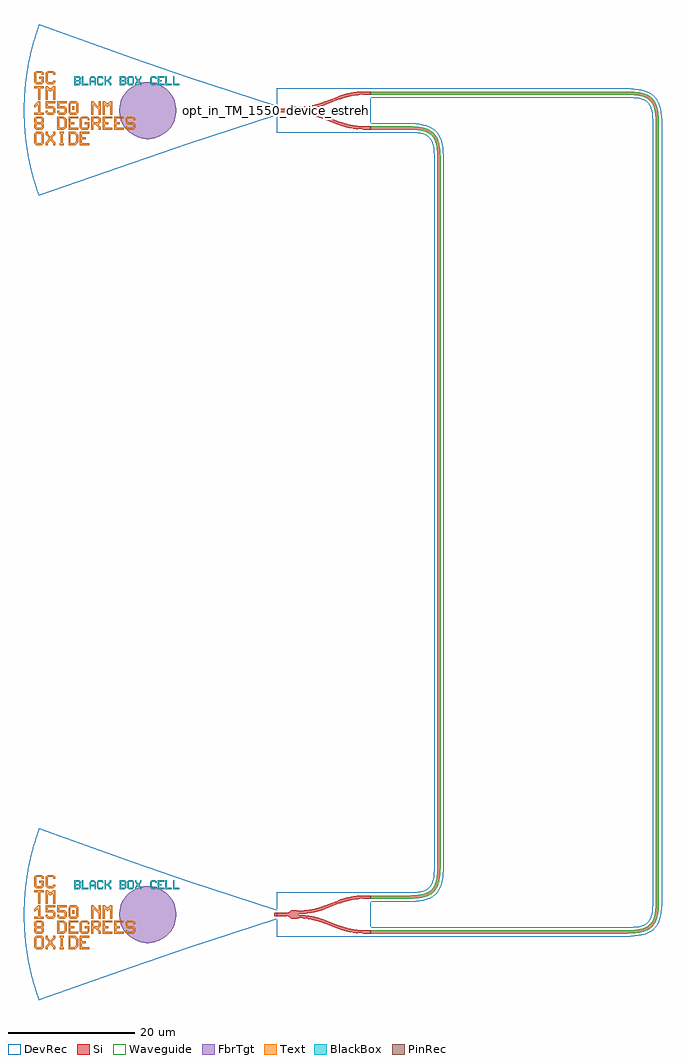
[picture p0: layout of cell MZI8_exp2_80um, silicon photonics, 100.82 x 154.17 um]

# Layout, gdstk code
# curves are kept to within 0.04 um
import gdstk
lib = gdstk.Library(unit=1e-6, precision=1e-09)
def R(c, l, rs):  # rectangles x0, y0, x1, y1
    for r in rs: c.add(gdstk.rectangle(r[:2], r[2:], *l))
def P(c, l, *ps):  # polygons
    for p in ps: c.add(gdstk.Polygon(p, *l))
Si = (1, 0)
PinRec = (1, 10)
Waveguide = (1, 99)
Text = (10, 0)
DevRec = (68, 0)
FbrTgt = (81, 0)
BlackBox = (998, 0)

text = lib.new_cell('TEXT')
P(text, BlackBox, [(13.2,0),(13.2,1.4),(14.2,1.4),(14.2,1.2),(13.4,1.2),(13.4,0.8),(13.8,0.8),(13.8,0.6),(13.4,0.6),(13.4,0.2),(14.2,0.2),(14.2,0)],
  [(9.6,0),(9.6,0.3),(9.9,0.6),(9.9,0.8),(9.6,1.1),(9.6,1.4),(9.8,1.4),(9.8,1.2),(10.1,0.9),(10.4,1.2),(10.4,1.4),(10.6,1.4),(10.6,1.1),(10.3,0.8),(10.3,0.6),(10.6,0.3),(10.6,0),(10.4,0),(10.4,0.2),(10.1,0.5),(9.8,0.2),(9.8,0)],
  [(8.6,0),(8.4,0.2),(8.4,1.2),(8.6,1.4),(9.2,1.4),(9.4,1.2),(9.4,0.7),(9.2,0.7),(9.2,1.1),(9.1,1.2),(8.7,1.2),(8.6,1.1),(8.6,0.3),(8.7,0.2),(9.1,0.2),(9.2,0.3),(9.2,0.7),(9.4,0.7),(9.4,0.2),(9.2,0)],
  [(4.8,0),(4.8,1.4),(5,1.4),(5,0.8),(5.2,0.8),(5.6,1.2),(5.6,1.4),(5.8,1.4),(5.8,1.1),(5.4,0.7),(5.8,0.3),(5.8,0),(5.6,0),(5.6,0.2),(5.2,0.6),(5,0.6),(5,0)],
  [(3.8,0),(3.6,0.2),(3.6,1.2),(3.8,1.4),(4.4,1.4),(4.6,1.2),(4.6,1),(4.4,1),(4.4,1.1),(4.3,1.2),(3.9,1.2),(3.8,1.1),(3.8,0.3),(3.9,0.2),(4.3,0.2),(4.4,0.3),(4.4,0.4),(4.6,0.4),(4.6,0.2),(4.4,0)],
  [(12.2,0),(12,0.2),(12,1.2),(12.2,1.4),(12.8,1.4),(13,1.2),(13,1),(12.8,1),(12.8,1.1),(12.7,1.2),(12.3,1.2),(12.2,1.1),(12.2,0.3),(12.3,0.2),(12.7,0.2),(12.8,0.3),(12.8,0.4),(13,0.4),(13,0.2),(12.8,0)],
  [(2.4,0),(2.4,1.1),(2.7,1.4),(3.1,1.4),(3.3,1.2),(2.8,1.2),(2.6,1),(2.6,0.7),(3.2,0.7),(3.2,1),(3,1.2),(3.3,1.2),(3.4,1.1),(3.4,0),(3.2,0),(3.2,0.5),(2.6,0.5),(2.6,0)],
  [(1.2,0),(1.2,1.4),(1.4,1.4),(1.4,0.2),(2.2,0.2),(2.2,0)],
  [(14.4,0),(14.4,1.4),(14.6,1.4),(14.6,0.2),(15.4,0.2),(15.4,0)],
  [(15.6,0),(15.6,1.4),(15.8,1.4),(15.8,0.2),(16.6,0.2),(16.6,0)],
  [(0,0),(0,1.4),(0.8,1.4),(1,1.2),(0.2,1.2),(0.2,0.8),(0.7,0.8),(0.8,0.9),(0.8,1.1),(0.7,1.2),(1,1.2),(1,0.8),(0.9,0.7),(1,0.6),(0.2,0.6),(0.2,0.2),(0.7,0.2),(0.8,0.3),(0.8,0.5),(0.7,0.6),(1,0.6),(1,0.2),(0.8,0)],
  [(7.2,0),(7.2,1.4),(8,1.4),(8.2,1.2),(7.4,1.2),(7.4,0.8),(7.9,0.8),(8,0.9),(8,1.1),(7.9,1.2),(8.2,1.2),(8.2,0.8),(8.1,0.7),(8.2,0.6),(7.4,0.6),(7.4,0.2),(7.9,0.2),(8,0.3),(8,0.5),(7.9,0.6),(8.2,0.6),(8.2,0.2),(8,0)])

gc_tm_1550_8degoxide_bb = lib.new_cell('GC_TM_1550_8degOxide_BB')
R(gc_tm_1550_8degoxide_bb, Si, [(-0.4,-0.25,0,0.25)])
R(gc_tm_1550_8degoxide_bb, Text, [(-32.313,0.092,-32.013,0.692)])
P(gc_tm_1550_8degoxide_bb, Text, [(-30.813,-3.058),(-31.113,-2.758),(-31.113,-1.258),(-30.813,-0.958),(-29.913,-0.958),(-29.613,-1.258),(-29.613,-1.558),(-29.913,-1.558),(-29.913,-1.408),(-30.063,-1.258),(-30.663,-1.258),(-30.813,-1.408),(-30.813,-2.608),(-30.663,-2.758),(-30.063,-2.758),(-29.913,-2.608),(-29.913,-2.158),(-30.363,-2.158),(-30.363,-1.858),(-29.613,-1.858),(-29.613,-2.758),(-29.913,-3.058)],
  [(-38.013,4.142),(-38.313,4.442),(-38.313,5.942),(-38.013,6.242),(-37.113,6.242),(-36.813,5.942),(-36.813,5.642),(-37.113,5.642),(-37.113,5.792),(-37.263,5.942),(-37.863,5.942),(-38.013,5.792),(-38.013,4.592),(-37.863,4.442),(-37.263,4.442),(-37.113,4.592),(-37.113,5.042),(-37.563,5.042),(-37.563,5.342),(-36.813,5.342),(-36.813,4.442),(-37.113,4.142)],
  [(-36.513,-5.458),(-36.513,-5.008),(-36.063,-4.558),(-36.063,-4.258),(-36.513,-3.808),(-36.513,-3.358),(-36.213,-3.358),(-36.213,-3.658),(-35.763,-4.108),(-35.313,-3.658),(-35.313,-3.358),(-35.013,-3.358),(-35.013,-3.808),(-35.463,-4.258),(-35.463,-4.558),(-35.013,-5.008),(-35.013,-5.458),(-35.313,-5.458),(-35.313,-5.158),(-35.763,-4.708),(-36.213,-5.158),(-36.213,-5.458)],
  [(-37.713,1.742),(-37.713,3.542),(-38.313,3.542),(-38.313,3.842),(-36.813,3.842),(-36.813,3.542),(-37.413,3.542),(-37.413,1.742)],
  [(-38.013,-5.458),(-38.313,-5.158),(-38.313,-3.658),(-38.013,-3.358),(-37.113,-3.358),(-36.813,-3.658),(-36.813,-4.408),(-37.113,-4.408),(-37.113,-3.808),(-37.263,-3.658),(-37.863,-3.658),(-38.013,-3.808),(-38.013,-5.008),(-37.863,-5.158),(-37.263,-5.158),(-37.113,-5.008),(-37.113,-4.408),(-36.813,-4.408),(-36.813,-5.158),(-37.113,-5.458)],
  [(-31.113,-5.458),(-31.113,-3.358),(-29.613,-3.358),(-29.613,-3.658),(-30.813,-3.658),(-30.813,-4.258),(-30.213,-4.258),(-30.213,-4.558),(-30.813,-4.558),(-30.813,-5.158),(-29.613,-5.158),(-29.613,-5.458)],
  [(-32.913,-3.058),(-32.913,-0.958),(-31.413,-0.958),(-31.413,-1.258),(-32.613,-1.258),(-32.613,-1.858),(-32.013,-1.858),(-32.013,-2.158),(-32.613,-2.158),(-32.613,-2.758),(-31.413,-2.758),(-31.413,-3.058)],
  [(-27.513,-3.058),(-27.513,-0.958),(-26.013,-0.958),(-26.013,-1.258),(-27.213,-1.258),(-27.213,-1.858),(-26.613,-1.858),(-26.613,-2.158),(-27.213,-2.158),(-27.213,-2.758),(-26.013,-2.758),(-26.013,-3.058)],
  [(-25.713,-3.058),(-25.713,-0.958),(-24.213,-0.958),(-24.213,-1.258),(-25.413,-1.258),(-25.413,-1.858),(-24.813,-1.858),(-24.813,-2.158),(-25.413,-2.158),(-25.413,-2.758),(-24.213,-2.758),(-24.213,-3.058)],
  [(-29.313,-0.658),(-29.313,1.442),(-29.013,1.442),(-28.263,0.692),(-28.113,0.692),(-28.113,1.442),(-27.813,1.442),(-27.813,-0.658),(-28.113,-0.658),(-28.113,0.092),(-28.863,0.842),(-29.013,0.842),(-29.013,-0.658)],
  [(-34.263,-5.458),(-34.263,-5.158),(-34.113,-5.158),(-34.113,-3.658),(-34.263,-3.658),(-34.263,-3.358),(-33.663,-3.358),(-33.663,-3.658),(-33.813,-3.658),(-33.813,-5.158),(-33.663,-5.158),(-33.663,-5.458)],
  [(-36.213,4.142),(-36.513,4.442),(-36.513,5.942),(-36.213,6.242),(-35.313,6.242),(-35.013,5.942),(-35.013,5.642),(-35.313,5.642),(-35.313,5.792),(-35.463,5.942),(-36.063,5.942),(-36.213,5.792),(-36.213,4.592),(-36.063,4.442),(-35.463,4.442),(-35.313,4.592),(-35.313,4.742),(-35.013,4.742),(-35.013,4.442),(-35.313,4.142)],
  [(-27.513,-0.658),(-27.513,1.442),(-27.213,1.442),(-26.913,1.142),(-26.613,1.142),(-26.313,1.442),(-26.013,1.442),(-26.013,-0.658),(-26.313,-0.658),(-26.313,0.842),(-26.463,0.842),(-26.763,0.542),(-27.063,0.842),(-27.213,0.842),(-27.213,-0.658)],
  [(-36.513,1.742),(-36.513,3.842),(-36.213,3.842),(-35.913,3.542),(-35.613,3.542),(-35.313,3.842),(-35.013,3.842),(-35.013,1.742),(-35.313,1.742),(-35.313,3.242),(-35.463,3.242),(-35.763,2.942),(-36.063,3.242),(-36.213,3.242),(-36.213,1.742)],
  [(-29.313,-3.058),(-29.313,-0.958),(-28.113,-0.958),(-27.813,-1.258),(-29.013,-1.258),(-29.013,-1.858),(-28.263,-1.858),(-28.113,-1.708),(-28.113,-1.408),(-28.263,-1.258),(-27.813,-1.258),(-27.813,-1.858),(-28.113,-2.158),(-28.113,-2.308),(-27.813,-2.608),(-27.813,-3.058),(-28.113,-3.058),(-28.113,-2.758),(-28.713,-2.158),(-29.013,-2.158),(-29.013,-3.058)],
  [(-32.613,-0.658),(-32.913,-0.358),(-32.913,1.142),(-32.613,1.442),(-31.713,1.442),(-31.413,1.142),(-32.463,1.142),(-32.613,0.992),(-32.613,-0.208),(-32.463,-0.358),(-31.863,-0.358),(-31.713,-0.208),(-31.713,0.992),(-31.863,1.142),(-31.413,1.142),(-31.413,-0.358),(-31.713,-0.658)],
  [(-38.013,-3.058),(-38.313,-2.758),(-38.313,-2.158),(-38.163,-2.008),(-38.313,-1.858),(-38.313,-1.258),(-38.013,-0.958),(-37.113,-0.958),(-36.813,-1.258),(-37.863,-1.258),(-38.013,-1.408),(-38.013,-1.708),(-37.863,-1.858),(-37.263,-1.858),(-37.113,-1.708),(-37.113,-1.408),(-37.263,-1.258),(-36.813,-1.258),(-36.813,-1.858),(-36.963,-2.008),(-36.813,-2.158),(-37.863,-2.158),(-38.013,-2.308),(-38.013,-2.608),(-37.863,-2.758),(-37.263,-2.758),(-37.113,-2.608),(-37.113,-2.308),(-37.263,-2.158),(-36.813,-2.158),(-36.813,-2.758),(-37.113,-3.058)],
  [(-32.913,-5.458),(-32.913,-3.358),(-31.863,-3.358),(-31.563,-3.658),(-32.613,-3.658),(-32.613,-5.158),(-32.013,-5.158),(-31.713,-4.858),(-31.713,-3.958),(-32.013,-3.658),(-31.563,-3.658),(-31.413,-3.808),(-31.413,-5.008),(-31.863,-5.458)],
  [(-34.713,-3.058),(-34.713,-0.958),(-33.663,-0.958),(-33.363,-1.258),(-34.413,-1.258),(-34.413,-2.758),(-33.813,-2.758),(-33.513,-2.458),(-33.513,-1.558),(-33.813,-1.258),(-33.363,-1.258),(-33.213,-1.408),(-33.213,-2.608),(-33.663,-3.058)],
  [(-36.213,-0.658),(-36.513,-0.358),(-36.513,-0.058),(-36.213,-0.058),(-36.213,-0.208),(-36.063,-0.358),(-35.463,-0.358),(-35.313,-0.208),(-35.313,0.242),(-35.463,0.392),(-36.513,0.392),(-36.513,1.442),(-35.013,1.442),(-35.013,1.142),(-36.213,1.142),(-36.213,0.692),(-35.313,0.692),(-35.013,0.392),(-35.013,-0.358),(-35.313,-0.658)],
  [(-34.413,-0.658),(-34.713,-0.358),(-34.713,-0.058),(-34.413,-0.058),(-34.413,-0.208),(-34.263,-0.358),(-33.663,-0.358),(-33.513,-0.208),(-33.513,0.242),(-33.663,0.392),(-34.713,0.392),(-34.713,1.442),(-33.213,1.442),(-33.213,1.142),(-34.413,1.142),(-34.413,0.692),(-33.513,0.692),(-33.213,0.392),(-33.213,-0.358),(-33.513,-0.658)],
  [(-23.613,-3.058),(-23.913,-2.758),(-23.913,-2.458),(-23.613,-2.458),(-23.613,-2.608),(-23.463,-2.758),(-22.863,-2.758),(-22.713,-2.608),(-22.713,-2.308),(-22.863,-2.158),(-23.613,-2.158),(-23.913,-1.858),(-23.913,-1.258),(-23.613,-0.958),(-22.713,-0.958),(-22.413,-1.258),(-22.413,-1.558),(-22.713,-1.558),(-22.713,-1.408),(-22.863,-1.258),(-23.463,-1.258),(-23.613,-1.408),(-23.613,-1.708),(-23.463,-1.858),(-22.713,-1.858),(-22.413,-2.158),(-22.413,-2.758),(-22.713,-3.058)],
  [(-38.313,-0.658),(-38.313,-0.358),(-37.713,-0.358),(-37.713,0.842),(-37.863,0.842),(-38.163,0.542),(-38.313,0.542),(-38.313,0.842),(-37.713,1.442),(-37.413,1.442),(-37.413,-0.358),(-36.813,-0.358),(-36.813,-0.658)])
P(gc_tm_1550_8degoxide_bb, DevRec, [(-37.607,-13.5),(-38.627,-10.245),(-39.378,-6.832),(-39.647,-5.058),(-39.835,-3.274),(-39.969,0.224),(-39.812,3.541),(-39.331,7.097),(-38.557,10.505),(-37.546,13.669),(-22.8,8.353),(-14.109,5.36),(0,0.75),(0,-0.75),(-14.109,-5.36)])
P(gc_tm_1550_8degoxide_bb, FbrTgt, [(-20.621,-4.5),(-21.495,-4.37),(-22.326,-4.073),(-23.084,-3.619),(-23.738,-3.026),(-24.264,-2.316),(-24.642,-1.518),(-24.857,-0.661),(-24.9,0.221),(-24.77,1.095),(-24.473,1.926),(-24.019,2.684),(-23.426,3.338),(-22.716,3.864),(-21.918,4.242),(-21.061,4.457),(-20.179,4.5),(-19.305,4.37),(-18.474,4.073),(-17.716,3.619),(-17.062,3.026),(-16.536,2.316),(-16.158,1.518),(-15.943,0.661),(-15.9,-0.221),(-16.03,-1.095),(-16.327,-1.926),(-16.781,-2.684),(-17.374,-3.338),(-18.084,-3.864),(-18.882,-4.242),(-19.739,-4.457)])
gc_tm_1550_8degoxide_bb.add(gdstk.FlexPath([(-0.01,0),(0.01,0)], 0.5, ends="flush", simple_path=True, layer=1, datatype=10))  # PinRec
gc_tm_1550_8degoxide_bb.add(gdstk.Reference(text, (-32,4)))
gc_tm_1550_8degoxide_bb.add(gdstk.Label('opt1', (0,0), layer=1, texttype=10))
gc_tm_1550_8degoxide_bb.add(gdstk.Label('Component=GC_TM_1550_8degOxide_BB', (-28,-5), layer=68, texttype=0))
gc_tm_1550_8degoxide_bb.add(gdstk.Label('Lumerical_INTERCONNECT_library=Design kits/ebeam', (-29,-7), layer=68, texttype=0))

ebeam_y_1550 = lib.new_cell('ebeam_y_1550')
R(ebeam_y_1550, Si, [(6.5,-3,7.4,-2.5), (-7.4,-0.25,-6,0.25), (6.5,2.5,7.4,3)])
P(ebeam_y_1550, Si, [(6.458,-3),(6.237,-2.997),(6.237,-2.497),(6.5,-2.5),(6.5,-3)],
  [(2.265,-2.21),(0.055,-1.356),(0.235,-0.89),(2.445,-1.744)],
  [(5.033,-2.908),(3.59,-2.634),(2.265,-2.21),(2.445,-1.744),(3.731,-2.154),(5.033,-2.404)],
  [(-0.762,0.555),(-0.762,1.076),(0.055,1.356),(0.235,0.89)],
  [(-5.122,-0.662),(-5.442,-0.374),(-5.808,-0.255),(-6,-0.25),(-6,0.25),(-5.817,0.253),(-5.442,0.374),(-5.122,0.662)],
  [(-4.957,-0.703),(-5.122,-0.662),(-5.122,0.662),(-4.538,0.703),(-4,0.6),(-4,-0.6),(-4.509,-0.701)],
  [(0.055,-1.356),(-0.762,-1.076),(-0.762,-0.555),(0.235,-0.89)],
  [(6.237,2.497),(6.237,2.997),(6.5,3),(6.5,2.5)],
  [(-0.762,-1.076),(-2.334,-0.724),(-4,-0.6),(-4,-0.1),(-2.381,-0.212),(-0.762,-0.555)],
  [(5.033,2.404),(5.033,2.908),(6.237,2.997),(6.237,2.497)],
  [(6.233,-2.997),(5.033,-2.908),(5.033,-2.404),(6.237,-2.497)],
  [(0.235,0.89),(0.055,1.356),(2.265,2.21),(2.445,1.744)],
  [(2.445,1.744),(2.267,2.211),(3.59,2.634),(5.033,2.908),(5.033,2.404),(3.731,2.154)],
  [(-4,0.1),(-4,0.6),(-2.334,0.724),(-0.762,1.076),(-0.762,0.555),(-2.381,0.212)])
R(ebeam_y_1550, DevRec, [(-7.4,-3.5,7.4,3.5)])
ebeam_y_1550.add(gdstk.FlexPath([(7.35,-2.75),(7.45,-2.75)], 0.5, ends="flush", simple_path=True, layer=1, datatype=10))  # PinRec
ebeam_y_1550.add(gdstk.FlexPath([(7.35,2.75),(7.45,2.75)], 0.5, ends="flush", simple_path=True, layer=1, datatype=10))  # PinRec
ebeam_y_1550.add(gdstk.FlexPath([(-7.35,0),(-7.45,0)], 0.5, ends="flush", simple_path=True, layer=1, datatype=10))  # PinRec
ebeam_y_1550.add(gdstk.Label('opt1', (-7.4,0), layer=1, texttype=10))
ebeam_y_1550.add(gdstk.Label('opt3', (7.4,-2.75), layer=1, texttype=10))
ebeam_y_1550.add(gdstk.Label('opt2', (7.4,2.75), layer=1, texttype=10))
ebeam_y_1550.add(gdstk.Label('Lumerical_INTERCONNECT_library=Design kits/ebeam', (-6.86,-2.19), layer=68, texttype=0))
ebeam_y_1550.add(gdstk.Label('Component=ebeam_y_1550', (-6,1.5), layer=68, texttype=0))
ebeam_y_1550.add(gdstk.Label('Ref: Y Zhang, Opt. Express, 21/1, 2013', (-7.5,-1), layer=10, texttype=0))

waveguide_14 = lib.new_cell('Waveguide$14')
P(waveguide_14, Si, [(14.8,-3),(14.8,-2.5),(56.123,-2.472),(57.443,-2.304),(58.405,-1.959),(58.769,-1.715),(59.067,-1.417),(59.311,-1.053),(59.548,-0.491),(59.78,0.691),(59.851,2.25),(59.851,124.75),(59.76,126.479),(59.506,127.615),(59.066,128.418),(58.768,128.716),(58.404,128.96),(57.442,129.305),(55.93,129.483),(14.8,129.5),(14.8,130),(55.322,129.999),(56.891,129.906),(57.994,129.673),(58.523,129.461),(58.981,129.183),(59.367,128.833),(59.748,128.294),(59.976,127.783),(60.175,127.043),(60.295,126.182),(60.346,125.188),(60.351,2.25),(60.278,0.637),(60.024,-0.643),(59.812,-1.172),(59.534,-1.63),(59.184,-2.016),(58.762,-2.33),(58.269,-2.574),(57.705,-2.755),(56.151,-2.972)])
P(waveguide_14, Waveguide, [(14.8,-3),(14.8,-2.5),(56.123,-2.472),(57.443,-2.304),(58.405,-1.959),(58.769,-1.715),(59.067,-1.417),(59.311,-1.053),(59.548,-0.491),(59.78,0.691),(59.851,2.25),(59.851,124.75),(59.76,126.479),(59.506,127.615),(59.066,128.418),(58.768,128.716),(58.404,128.96),(57.442,129.305),(55.93,129.483),(14.8,129.5),(14.8,130),(55.322,129.999),(56.891,129.906),(57.994,129.673),(58.523,129.461),(58.981,129.183),(59.367,128.833),(59.748,128.294),(59.976,127.783),(60.175,127.043),(60.295,126.182),(60.346,125.188),(60.351,2.25),(60.278,0.637),(60.024,-0.643),(59.812,-1.172),(59.534,-1.63),(59.184,-2.016),(58.762,-2.33),(58.269,-2.574),(57.705,-2.755),(56.151,-2.972)])
P(waveguide_14, DevRec, [(14.8,-3.5),(14.8,-2),(55.101,-2),(56.846,-1.902),(57.997,-1.604),(58.477,-1.307),(58.816,-0.908),(59.076,-0.325),(59.254,0.506),(59.351,2.25),(59.351,124.75),(59.253,126.495),(59.075,127.326),(58.955,127.646),(58.658,128.126),(58.476,128.308),(57.996,128.605),(56.845,128.903),(55.75,128.99),(14.8,129),(14.8,130.5),(55.101,130.5),(57.053,130.389),(58.128,130.155),(59.051,129.739),(59.45,129.448),(60.089,128.701),(60.323,128.26),(60.641,127.26),(60.84,125.452),(60.851,2.25),(60.74,0.298),(60.506,-0.777),(60.09,-1.7),(59.799,-2.099),(59.052,-2.738),(58.129,-3.154),(57.611,-3.29),(56.452,-3.453),(55.101,-3.5)])
waveguide_14.add(gdstk.FlexPath([(14.81,-2.75),(14.79,-2.75)], 0.5, ends="flush", simple_path=True, layer=1, datatype=10))  # PinRec
waveguide_14.add(gdstk.FlexPath([(14.81,129.75),(14.79,129.75)], 0.5, ends="flush", simple_path=True, layer=1, datatype=10))  # PinRec
waveguide_14.add(gdstk.Label('opt2', (14.8,-2.75), layer=1, texttype=10))
waveguide_14.add(gdstk.Label('opt1', (14.8,129.75), layer=1, texttype=10))
waveguide_14.add(gdstk.Label('Length=219.999 (microns)', (14.8,129.15), layer=68, texttype=0))
waveguide_14.add(gdstk.Label('Spice_param:wg_length=0.000219999 wg_width=5e-07 points="[[14.8,129.75],[60.101,129.75],[60.101,-2.75],[14.8,-2.75]]" radius=5e-06', (14.8,129.75), layer=68, texttype=0))
waveguide_14.add(gdstk.Label('waveguide_type=Strip TE 1550 nm, w=500 nm', (14.8,129.55), layer=68, texttype=0))
waveguide_14.add(gdstk.Label('cellName=Waveguide', (14.8,129.95), layer=68, texttype=0))
waveguide_14.add(gdstk.Label('Component=ebeam_wg_integral_1550', (14.8,129.85), layer=68, texttype=0))
waveguide_14.add(gdstk.Label('Lumerical_INTERCONNECT_library=Design kits/EBeam', (14.8,129.65), layer=68, texttype=0))

waveguide_3 = lib.new_cell('Waveguide$3')
P(waveguide_3, Si, [(14.8,2.5),(14.8,3),(21.431,3.017),(22.646,3.137),(23.583,3.389),(24.269,3.784),(24.567,4.082),(24.811,4.446),(25.156,5.408),(25.324,6.728),(25.352,119.25),(25.299,120.635),(25.088,121.862),(24.696,122.743),(24.425,123.073),(24.096,123.343),(23.344,123.696),(22.492,123.887),(21.234,123.99),(14.8,124),(14.8,124.5),(21.652,124.472),(22.733,124.354),(23.635,124.125),(24.374,123.759),(24.869,123.332),(25.25,122.793),(25.568,122),(25.758,121.04),(25.843,119.897),(25.824,6.7),(25.644,5.3),(25.477,4.717),(25.249,4.206),(24.684,3.483),(24.262,3.169),(23.769,2.925),(22.732,2.645),(21.453,2.517)])
P(waveguide_3, Waveguide, [(14.8,2.5),(14.8,3),(21.431,3.017),(22.646,3.137),(23.583,3.389),(24.269,3.784),(24.567,4.082),(24.811,4.446),(25.156,5.408),(25.324,6.728),(25.352,119.25),(25.299,120.635),(25.088,121.862),(24.696,122.743),(24.425,123.073),(24.096,123.343),(23.344,123.696),(22.492,123.887),(21.234,123.99),(14.8,124),(14.8,124.5),(21.652,124.472),(22.733,124.354),(23.635,124.125),(24.374,123.759),(24.869,123.332),(25.25,122.793),(25.568,122),(25.758,121.04),(25.843,119.897),(25.824,6.7),(25.644,5.3),(25.477,4.717),(25.249,4.206),(24.684,3.483),(24.262,3.169),(23.769,2.925),(22.732,2.645),(21.453,2.517)])
P(waveguide_3, DevRec, [(14.8,2),(14.8,3.5),(21.251,3.51),(22.346,3.597),(23.497,3.895),(23.977,4.192),(24.159,4.374),(24.456,4.854),(24.676,5.556),(24.809,6.519),(24.852,7.75),(24.852,119.25),(24.81,120.48),(24.677,121.443),(24.317,122.408),(24.16,122.625),(23.761,122.964),(23.178,123.224),(22.347,123.402),(21.252,123.489),(14.8,123.5),(14.8,125),(21.953,124.953),(23.112,124.79),(24.112,124.472),(24.952,123.947),(25.3,123.599),(25.591,123.2),(26.007,122.277),(26.241,121.202),(26.342,119.951),(26.352,7.75),(26.305,6.399),(26.142,5.24),(26.006,4.722),(25.59,3.799),(24.951,3.052),(24.111,2.527),(23.111,2.209),(21.952,2.046)])
waveguide_3.add(gdstk.FlexPath([(14.81,2.75),(14.79,2.75)], 0.5, ends="flush", simple_path=True, layer=1, datatype=10))  # PinRec
waveguide_3.add(gdstk.FlexPath([(14.81,124.25),(14.79,124.25)], 0.5, ends="flush", simple_path=True, layer=1, datatype=10))  # PinRec
waveguide_3.add(gdstk.Label('opt2', (14.8,124.25), layer=1, texttype=10))
waveguide_3.add(gdstk.Label('opt1', (14.8,2.75), layer=1, texttype=10))
waveguide_3.add(gdstk.Label('Length=140.001 (microns)', (14.8,2.15), layer=68, texttype=0))
waveguide_3.add(gdstk.Label('Spice_param:wg_length=0.000140001 wg_width=5e-07 points="[[14.8,2.75],[25.602,2.75],[25.602,124.25],[14.8,124.25]]" radius=5e-06', (14.8,2.75), layer=68, texttype=0))
waveguide_3.add(gdstk.Label('waveguide_type=Strip TE 1550 nm, w=500 nm', (14.8,2.55), layer=68, texttype=0))
waveguide_3.add(gdstk.Label('cellName=Waveguide', (14.8,2.95), layer=68, texttype=0))
waveguide_3.add(gdstk.Label('Component=ebeam_wg_integral_1550', (14.8,2.85), layer=68, texttype=0))
waveguide_3.add(gdstk.Label('Lumerical_INTERCONNECT_library=Design kits/EBeam', (14.8,2.65), layer=68, texttype=0))

mzi8_exp2_80um = lib.new_cell('MZI8_exp2_80um')
mzi8_exp2_80um.add(gdstk.Reference(gc_tm_1550_8degoxide_bb, (39.97,-140.67)))
mzi8_exp2_80um.add(gdstk.Reference(gc_tm_1550_8degoxide_bb, (39.97,-13.67)))
mzi8_exp2_80um.add(gdstk.Reference(ebeam_y_1550, (47.37,-140.67)))
mzi8_exp2_80um.add(gdstk.Reference(ebeam_y_1550, (47.37,-13.67)))
mzi8_exp2_80um.add(gdstk.Reference(waveguide_14, (39.97,-140.67)))
mzi8_exp2_80um.add(gdstk.Reference(waveguide_3, (39.97,-140.67)))
mzi8_exp2_80um.add(gdstk.Label('opt_in_TM_1550_device_estrehlo_MZI8', (39.969,-13.669), layer=10, texttype=0))

lib.write_gds('MZI8_exp2_80um.gds')
